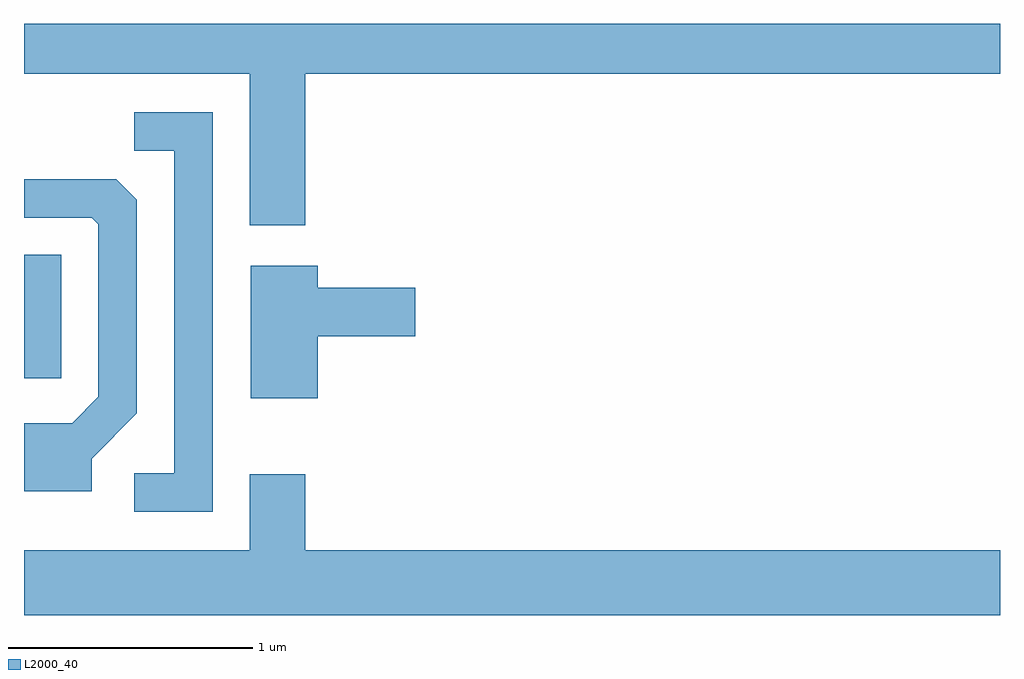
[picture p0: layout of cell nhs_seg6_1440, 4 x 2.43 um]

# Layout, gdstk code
import gdstk
lib = gdstk.Library(unit=1e-6, precision=1e-09)
def R(c, l, rs):  # rectangles x0, y0, x1, y1
    for r in rs: c.add(gdstk.rectangle(r[:2], r[2:], *l))
def P(c, l, *ps):  # polygons
    for p in ps: c.add(gdstk.Polygon(p, *l))
L2000_40 = (2000, 40)

nhs_seg6_1440 = lib.new_cell('nhs_seg6_1440')
R(nhs_seg6_1440, L2000_40, [(227.611,1628.708,227.764,1629.214)])
P(nhs_seg6_1440, L2000_40, [(228.764,1629.956),(231.611,1629.956),(231.611,1630.162),(227.611,1630.162),(227.611,1629.956),(228.536,1629.956),(228.536,1629.336),(228.764,1629.336)],
  [(228.384,1629.799),(228.063,1629.799),(228.063,1629.641),(228.226,1629.641),(228.226,1628.319),(228.063,1628.319),(228.063,1628.161),(228.384,1628.161)],
  [(227.889,1628.379),(228.074,1628.564),(228.074,1629.439),(227.989,1629.524),(227.611,1629.524),(227.611,1629.366),(227.889,1629.366),(227.916,1629.339),(227.916,1628.632),(227.809,1628.524),(227.611,1628.524),(227.611,1628.246),(227.889,1628.246)],
  [(228.814,1628.881),(229.214,1628.881),(229.214,1629.079),(228.814,1629.079),(228.814,1629.169),(228.541,1629.169),(228.541,1628.626),(228.814,1628.626)],
  [(231.611,1628.004),(228.764,1628.004),(228.764,1628.314),(228.536,1628.314),(228.536,1628.004),(227.611,1628.004),(227.611,1627.736),(231.611,1627.736)])

lib.write_gds('nhs_seg6_1440.gds')
